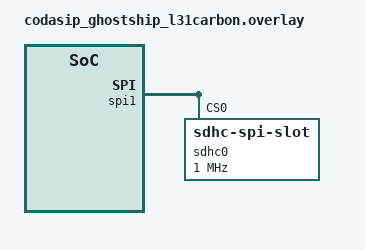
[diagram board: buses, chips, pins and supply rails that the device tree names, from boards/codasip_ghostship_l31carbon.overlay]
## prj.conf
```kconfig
CONFIG_DISK_ACCESS=y
CONFIG_LOG=y
CONFIG_FILE_SYSTEM=y
CONFIG_FAT_FILESYSTEM_ELM=y
CONFIG_PRINTK=y
CONFIG_MAIN_STACK_SIZE=2048
# CONFIG_SYS_CLOCK_TICKS_PER_SEC=1
```

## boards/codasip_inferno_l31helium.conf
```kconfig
CONFIG_SPI=y
CONFIG_SPI_EXTENDED_MODES=y
CONFIG_DISK_DRIVER_SDMMC=y
CONFIG_FS_FATFS_MOUNT_MKFS=n
CONFIG_FS_FATFS_LFN=y
CONFIG_LOG_PRINTK=n
```

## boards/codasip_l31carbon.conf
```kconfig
CONFIG_SPI=y
CONFIG_SPI_EXTENDED_MODES=y
CONFIG_DISK_DRIVER_SDMMC=y
CONFIG_FS_FATFS_MOUNT_MKFS=n
CONFIG_FS_FATFS_LFN=y
CONFIG_LOG_PRINTK=n
```

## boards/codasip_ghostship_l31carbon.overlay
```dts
/*
 * Copyright (c) 2023 Codasip s.r.o.
 *
 * SPDX-License-Identifier: Apache-2.0
 */

&spi1 { /* SD Card */
        status = "okay";
        sdhc0: sdhc@0 {
                compatible = "zephyr,sdhc-spi-slot";
                reg = <0>;
                spi-max-frequency = <1000000>;
                status = "okay";
                /* spi-clock-mode-cpol; */
                /* spi-clock-mode-cpha; */
                mmc {
                    compatible = "zephyr,sdmmc-disk";
                    status = "okay";
                };
        };
};
```

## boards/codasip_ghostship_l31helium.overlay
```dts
/*
 * Copyright (c) 2023 Codasip s.r.o.
 *
 * SPDX-License-Identifier: Apache-2.0
 */

&spi1 { /* SD Card */
        status = "okay";
        sdhc0: sdhc@0 {
                compatible = "zephyr,sdhc-spi-slot";
                reg = <0>;
                spi-max-frequency = <1000000>;
                status = "okay";
/*                spi-clock-mode-cpol;
                spi-clock-mode-cpha; */
                mmc {
                    compatible = "zephyr,sdmmc-disk";
                    status = "okay";
                };
        };
};
```

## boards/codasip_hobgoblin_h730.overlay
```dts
/*
 * Copyright (c) 2024 Codasip s.r.o.
 *
 * SPDX-License-Identifier: Apache-2.0
 */

&spi1 { /* SD Card */
        status = "okay";

        compatible = "codasip-xlnx,xps-spi-2.00.a";
        clock-frequency = <40000000>;

        sdhc0: sdhc@0 {
                compatible = "zephyr,sdhc-spi-slot";
                reg = <0>;
                spi-max-frequency = <40000000>;
                status = "okay";
/*                spi-clock-mode-cpol;
                spi-clock-mode-cpha; */
/*              cd-gpios  = <&gpio01 0 GPIO_ACTIVE_LOW>; only for imx_usdhc.c */
                pwr-gpios = <&gpio01 1 GPIO_ACTIVE_LOW>;
                mmc {
                    compatible = "zephyr,sdmmc-disk";
                    status = "okay";
                };
        };
};
```

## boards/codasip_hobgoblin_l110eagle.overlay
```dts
/*
 * Copyright (c) 2024 Codasip s.r.o.
 *
 * SPDX-License-Identifier: Apache-2.0
 */

&spi1 { /* SD Card */
        status = "okay";

        compatible = "codasip-xlnx,xps-spi-2.00.a";
        clock-frequency = <40000000>;

        sdhc0: sdhc@0 {
                compatible = "zephyr,sdhc-spi-slot";
                reg = <0>;
                spi-max-frequency = <40000000>;
                status = "okay";
                /* spi-clock-mode-cpol; */
                /* spi-clock-mode-cpha; */
                /* cd-gpios  = <&gpio01 0 GPIO_ACTIVE_LOW>; only for imx_usdhc.c */
                pwr-gpios = <&gpio01 1 GPIO_ACTIVE_LOW>;
                mmc {
                    compatible = "zephyr,sdmmc-disk";
                    status = "okay";
                };
        };
};
```

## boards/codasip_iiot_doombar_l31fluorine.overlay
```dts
/*
 * Copyright (c) 2023 Codasip s.r.o.
 *
 * SPDX-License-Identifier: Apache-2.0
 */

&spi1 { /* SD Card */
        status = "okay";
        
        compatible = "codasip-xlnx,xps-spi-2.00.a";
        clock-frequency = <20000000>;

        sdhc0: sdhc@0 {
                compatible = "zephyr,sdhc-spi-slot";
                reg = <0>;
                spi-max-frequency = <20000000>;
                status = "okay";
                /* spi-clock-mode-cpol; */
                /* spi-clock-mode-cpha; */
                /* cd-gpios  = <&gpio01 0 GPIO_ACTIVE_LOW>; only for imx_usdhc.c */
                pwr-gpios = <&gpio01 1 GPIO_ACTIVE_LOW>;
                mmc {
                    compatible = "zephyr,sdmmc-disk";
                    status = "okay";
                };
        };
};
```

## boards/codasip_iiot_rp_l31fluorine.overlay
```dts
/*
 * Copyright (c) 2023 Codasip s.r.o.
 *
 * SPDX-License-Identifier: Apache-2.0
 */

&spi0 {
        status = "okay";
        sdhc0: sdhc@0 {
                compatible = "zephyr,sdhc-spi-slot";
                reg = <0>;
                spi-max-frequency = <1000000>;
                status = "okay";
/*                spi-clock-mode-cpol;
                spi-clock-mode-cpha; */
                mmc {
                    compatible = "zephyr,sdmmc-disk";
                    status = "okay";
                };
        };
};
```

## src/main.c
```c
/*
 * Copyright (c) 2019 Tavish Naruka <tavishnaruka@gmail.com>
 * Copyright (c) 2023 Nordic Semiconductor ASA
 * Copyright (c) 2023 Codasip s.r.o.
 *
 * SPDX-License-Identifier: Apache-2.0
 */

/* Sample which uses the filesystem API and SDHC driver */

#include <zephyr/kernel.h>
#include <zephyr/device.h>
#include <zephyr/storage/disk_access.h>
#include <zephyr/logging/log.h>
#include <zephyr/fs/fs.h>
#include <ff.h>
#include <zephyr/drivers/gpio.h>

LOG_MODULE_REGISTER(main);

#define DISK_DRIVE_NAME   "SD"
#define DISK_MOUNT_PT     "/" DISK_DRIVE_NAME ":"
#define MAX_PATH          128
#define SOME_FILE_NAME    "some.dat"
#define SOME_DIR_NAME     "some"
#define SOME_REQUIRED_LEN MAX(sizeof(SOME_FILE_NAME), sizeof(SOME_DIR_NAME))

static FATFS fat_fs;

/* mounting info */
static struct fs_mount_t mp = {
        .type = FS_FATFS,
        .fs_data = &fat_fs,
};

static int lsdir(const char *path);
static void cat(const char *path_filename);

#ifdef CONFIG_SAMPLE_FATFS_CREATE_SOME_ENTRIES
static bool create_some_entries(const char *base_path)
{
        char path[MAX_PATH];
        struct fs_file_t file;
        int base = strlen(base_path);

        fs_file_t_init(&file);

        if (base >= (sizeof(path) - SOME_REQUIRED_LEN)) {
                LOG_ERR("Not enough concatenation buffer to create file paths");
                return false;
        }

        LOG_INF("Creating some dir entries in %s", base_path);
        strncpy(path, base_path, sizeof(path));

        path[base++] = '/';
        path[base] = 0;
        strcat(&path[base], SOME_FILE_NAME);

        if (fs_open(&file, path, FS_O_CREATE) != 0) {
                LOG_ERR("Failed to create file %s", path);
                return false;
        }
        fs_close(&file);

        path[base] = 0;
        strcat(&path[base], SOME_DIR_NAME);

        if (fs_mkdir(path) != 0) {
                LOG_ERR("Failed to create dir %s", path);
                /* If code gets here, it has at least successes to create the
                 * file so allow function to return true.
                 */
        }
        return true;
}
#endif

#define DISK_DRIVE_NAME "SD"
#define DISK_MOUNT_PT   "/" DISK_DRIVE_NAME ":"
#define MAX_PATH        128

/*
 *  Note the fatfs library is able to mount only strings inside _VOLUME_STRS
 *  in ffconf.h
 */
static const char *disk_mount_pt = DISK_MOUNT_PT;

#define COUNTING_FILENAME DISK_MOUNT_PT "/counting.dat"

#define BUFFER_MAX 1024
static unsigned char buffer[BUFFER_MAX];

static void write_counting(const char *path_filename, size_t len)
{
        int err, ctr = 0;

        struct fs_file_t zfp;

        printk("Writing %d counting bytes to file \"%s\"\n", (int) len, path_filename);

        fs_file_t_init(&zfp);
        err = fs_open(&zfp, path_filename, FS_O_CREATE | FS_O_RDWR);

        if (err == 0) {
                size_t buf_len, written = 0, written_last_update = 0;

                for (; len > 0; len -= buf_len) {
                        buf_len = (BUFFER_MAX < len) ? BUFFER_MAX : len;

                        /* Get counting data */
                        // get_random_fn( random_context, buffer, buf_len );
                        uint32_t idx;
                        for (idx = 0; idx < buf_len; idx++) {
                                buffer[idx] = ctr++;
                        }

                        if (fs_write(&zfp, &buffer, buf_len) != buf_len) {
                                printk("Error writing %s\n", path_filename);
                                break;
                        }

                        written += buf_len;
                        if (written >= written_last_update + 0x10000) {
                                printk("Written 0x%x to file %s\n", (unsigned int) written, path_filename);
                                written_last_update = written;
                        }
                }

                fs_close(&zfp);

                printk("File \"%s\" written OK\n", path_filename);
        } else {
                printk("Can't open \"%s\" error %d\n", path_filename, err);
        }
}

int main(void)
{
        /* raw disk i/o */
        do {
                static const char *disk_pdrv = DISK_DRIVE_NAME;
                uint64_t memory_size_mb;
                uint32_t block_count;
                uint32_t block_size;

                printk("disk_access_init(disk_pdrv)\n");
                if (disk_access_init(disk_pdrv) != 0) {
                        LOG_ERR("Storage init ERROR!");
                        break;
                }

                printk("disk_access_ioctl(disk_pdrv, DISK_IOCTL_GET_SECTOR_COUNT, &block_count)\n");
                if (disk_access_ioctl(disk_pdrv, DISK_IOCTL_GET_SECTOR_COUNT, &block_count)) {
                        LOG_ERR("Unable to get sector count");
                        break;
                }
                LOG_INF("Block count %u", block_count);

                printk("disk_access_ioctl(disk_pdrv, DISK_IOCTL_GET_SECTOR_SIZE, &block_size)\n");
                if (disk_access_ioctl(disk_pdrv, DISK_IOCTL_GET_SECTOR_SIZE, &block_size)) {
                        LOG_ERR("Unable to get sector size");
                        break;
                }
                printk("Sector size %u\n", block_size);

                memory_size_mb = (uint64_t)block_count * block_size;
                printk("Memory Size(MB) %u\n", (uint32_t)(memory_size_mb >> 20));

                mp.mnt_point = disk_mount_pt;

                printk("fs_mount(&mp)\n");
                int res = fs_mount(&mp);

                if (res == FR_OK) {
                        printk("Disk mounted.\n");

                        cat(DISK_MOUNT_PT "/zephyr-logo.txt");

                        if (lsdir(disk_mount_pt) == 0) {
#ifdef CONFIG_SAMPLE_FATFS_CREATE_SOME_ENTRIES
                                if (create_some_entries(disk_mount_pt)) {
                                        lsdir(disk_mount_pt);
                                }
#endif
                        }
                } else {
                        printk("Error mounting disk.\n");
                        break;
                }
        } while (0);

        write_counting(COUNTING_FILENAME, 0x1000000);

        while (1) {
                k_sleep(K_MSEC(1000));
        }
        return 0;
}

/* List dir entry by path
 *
 * @param path Absolute path to list
 *
 * @return Negative errno code on error, number of listed entries on
 *         success.
 */
static int lsdir(const char *path)
{
        int res;
        struct fs_dir_t dirp;
        static struct fs_dirent entry;
        int count = 0;

        fs_dir_t_init(&dirp);

        /* Verify fs_opendir() */
        res = fs_opendir(&dirp, path);
        if (res) {
                printk("Error opening dir %s [%d]\n", path, res);
                return res;
        }

        printk("\nListing dir %s ...\n", path);
        for (;;) {
                /* Verify fs_readdir() */
                res = fs_readdir(&dirp, &entry);

                /* entry.name[0] == 0 means end-of-dir */
                if (res || entry.name[0] == 0) {
                        break;
                }

                if (entry.type == FS_DIR_ENTRY_DIR) {
                        printk("[DIR ] %s\n", entry.name);
                } else {
                        printk("[FILE] %s (size = %zu)\n", entry.name, entry.size);
                }
                count++;
        }

        /* Verify fs_closedir() */
        fs_closedir(&dirp);
        if (res == 0) {
                res = count;
        }

        return res;
}

/* #define LINE_MAX 1024 Now defined in picolibc - used by Zephyr */

static char line[LINE_MAX];

static void cat(const char *path_filename)
{
        int err;

        struct fs_file_t zfp;

        fs_file_t_init(&zfp);
        err = fs_open(&zfp, path_filename, FS_O_READ);

        if (err == 0) {
                int idx = 0;

                /* Read in lines */
                while (fs_read(&zfp, &line[idx], 1) == 1) {
                        if (line[idx] == 0x0a || idx >= (LINE_MAX - 2)) {
                                line[idx + 1] = '\0';
                                idx = 0;

                                printk("%s", line);
                        } else {
                                idx++;
                        }
                }

                fs_close(&zfp);
        } else {
                printk("Can't open \"%s\" error %d", path_filename, err);
        }
}
```
